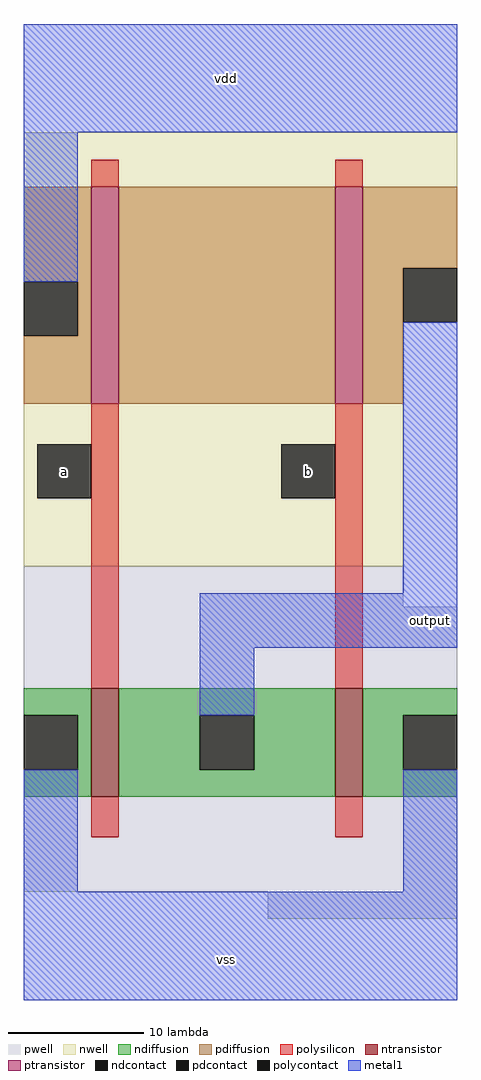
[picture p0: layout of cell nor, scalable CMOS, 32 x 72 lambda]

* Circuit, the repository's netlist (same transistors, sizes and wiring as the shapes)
* SPICE3 file created from nor.ext - technology: scmos

.include ./t14y_tsmc_025_level3.txt
.option scale=1u

M1000 in a vdd vdd cmosp w=16 l=2
M1001 output b in vdd cmosp w=16 l=2
M1002 output a vss 0 cmosn w=8 l=2
M1003 vss b output 0 cmosn w=8 l=2

v_dd vdd 0 5
v_ss vss 0 0
v_a a 0 PULSE(0 5 0 0 0 10n 20n)
v_b b 0 PULSE(0 5 0 0 0 20n 40n)

.control
	tran 0.01n 40n
	setplot tran1
	plot a b output
.endc
.end

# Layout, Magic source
magic
tech scmos
<< pwell >>
rect 0 29 28 32
rect 0 8 32 29
rect 18 6 32 8
<< nwell >>
rect 0 50 32 64
rect 0 32 28 50
<< polysilicon >>
rect 5 60 7 62
rect 23 60 25 62
rect 5 23 7 44
rect 23 23 25 44
rect 5 12 7 15
rect 23 12 25 15
<< ndiffusion >>
rect 0 21 5 23
rect 4 17 5 21
rect 0 15 5 17
rect 7 21 23 23
rect 7 17 13 21
rect 17 17 23 21
rect 7 15 23 17
rect 25 21 32 23
rect 25 17 28 21
rect 25 15 32 17
<< pdiffusion >>
rect 0 53 5 60
rect 4 49 5 53
rect 0 44 5 49
rect 7 44 23 60
rect 25 54 32 60
rect 25 44 28 54
<< metal1 >>
rect 0 64 32 72
rect 0 53 4 64
rect 28 30 32 50
rect 13 26 32 30
rect 13 21 17 26
rect 0 8 4 17
rect 28 8 32 17
rect 0 0 32 8
<< ntransistor >>
rect 5 15 7 23
rect 23 15 25 23
<< ptransistor >>
rect 5 44 7 60
rect 23 44 25 60
<< polycontact >>
rect 1 37 5 41
rect 19 37 23 41
<< ndcontact >>
rect 0 17 4 21
rect 13 17 17 21
rect 28 17 32 21
<< pdcontact >>
rect 0 49 4 53
rect 28 50 32 54
<< labels >>
rlabel metal1 15 68 15 68 5 vdd
rlabel polycontact 3 39 3 39 3 a
rlabel polycontact 21 39 21 39 1 b
rlabel metal1 15 3 15 3 1 vss
rlabel metal1 30 28 30 28 7 output
<< end >>
